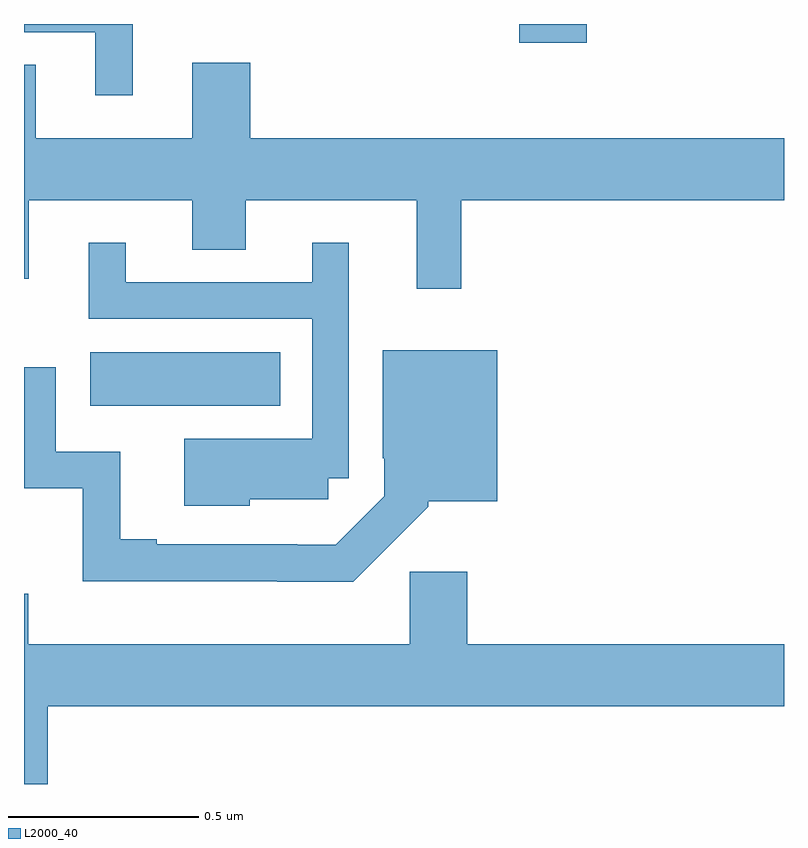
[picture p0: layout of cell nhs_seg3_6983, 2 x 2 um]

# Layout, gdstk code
import gdstk
lib = gdstk.Library(unit=1e-6, precision=1e-09)
def R(c, l, rs):  # rectangles x0, y0, x1, y1
    for r in rs: c.add(gdstk.rectangle(r[:2], r[2:], *l))
def P(c, l, *ps):  # polygons
    for p in ps: c.add(gdstk.Polygon(p, *l))
L2000_40 = (2000, 40)

nhs_seg3_6983 = lib.new_cell('nhs_seg3_6983')
R(nhs_seg3_6983, L2000_40, [(198.174,680.396,198.674,680.536), (199.303,681.351,199.481,681.4)])
P(nhs_seg3_6983, L2000_40, [(198.286,681.4),(198,681.4),(198,681.378),(198.188,681.378),(198.188,681.213),(198.286,681.213)],
  [(199.151,680.936),(200,680.936),(200,681.1),(198.596,681.1),(198.596,681.298),(198.443,681.298),(198.443,681.1),(198.031,681.1),(198.031,681.293),(198,681.293),(198,680.73),(198.013,680.73),(198.013,680.936),(198.443,680.936),(198.443,680.806),(198.583,680.806),(198.583,680.936),(199.034,680.936),(199.034,680.703),(199.151,680.703)],
  [(198.594,680.15),(198.801,680.15),(198.801,680.205),(198.855,680.205),(198.855,680.824),(198.758,680.824),(198.758,680.721),(198.268,680.721),(198.268,680.824),(198.17,680.824),(198.17,680.625),(198.759,680.625),(198.759,680.308),(198.422,680.308),(198.422,680.132),(198.594,680.132)],
  [(199.064,680.129),(199.064,680.144),(199.246,680.144),(199.246,680.542),(198.944,680.542),(198.944,680.257),(198.948,680.257),(198.948,680.157),(198.82,680.029),(198.719,680.029),(198.719,680.031),(198.349,680.031),(198.349,680.044),(198.253,680.044),(198.253,680.274),(198.084,680.274),(198.084,680.497),(198,680.497),(198,680.178),(198.155,680.178),(198.155,679.934),(198.667,679.934),(198.667,679.932),(198.866,679.932)],
  [(198.011,679.901),(198,679.901),(198,679.4),(198.062,679.4),(198.062,679.604),(200,679.604),(200,679.768),(199.166,679.768),(199.166,679.959),(199.015,679.959),(199.015,679.768),(198.011,679.768)])

lib.write_gds('nhs_seg3_6983.gds')
